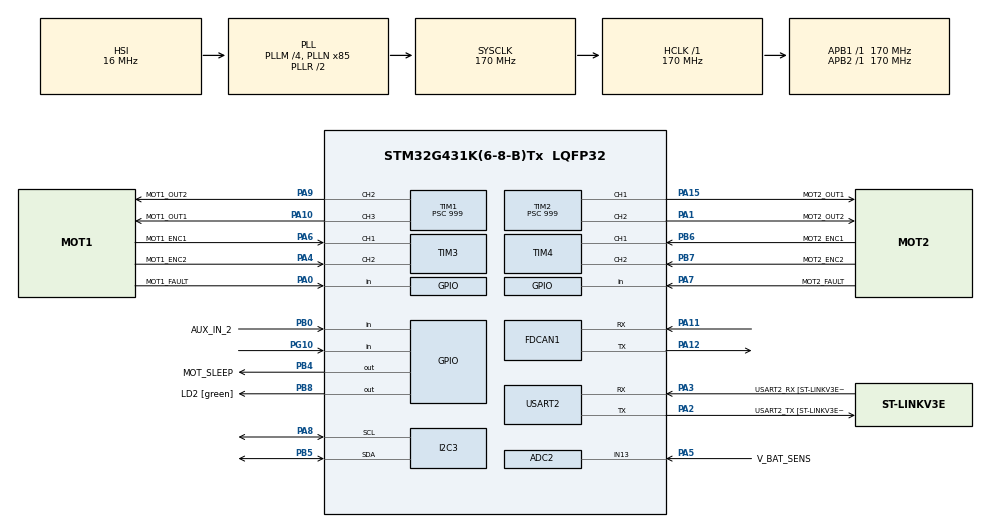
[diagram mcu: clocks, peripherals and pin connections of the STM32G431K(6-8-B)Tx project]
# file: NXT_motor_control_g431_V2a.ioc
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ADC2.Channel-1\#ChannelRegularConversion=ADC_CHANNEL_13
ADC2.NbrOfConversionFlag=1
ADC2.OffsetNumber-1\#ChannelRegularConversion=ADC_OFFSET_NONE
ADC2.Rank-1\#ChannelRegularConversion=1
ADC2.SamplingTime-1\#ChannelRegularConversion=ADC_SAMPLETIME_2CYCLES_5
FDCAN1.CalculateBaudRateNominal=249999
FDCAN1.CalculateTimeBitNominal=4000
FDCAN1.CalculateTimeQuantumNominal=235.29411764705884
FDCAN1.NominalPrescaler=40
FDCAN1.NominalTimeSeg1=14
I2C3.Timing=0x30A0A7FB
Mcu.Family=STM32G4
Mcu.Name=STM32G431K(6-8-B)Tx
Mcu.Package=LQFP32
NVIC.FDCAN1_IT0_IRQn=true\:2\:0\:true\:false\:true\:true\:true\:true
NVIC.FDCAN1_IT1_IRQn=true\:2\:0\:true\:false\:true\:true\:true\:true
NVIC.PriorityGroup=NVIC_PRIORITYGROUP_4
NVIC.TIM1_BRK_TIM15_IRQn=true\:0\:0\:false\:false\:true\:true\:true\:true
NVIC.TIM6_DAC_IRQn=true\:3\:0\:true\:false\:true\:true\:true\:true
PA0.GPIO_Label=MOT1_FAULT
PA0.Signal=GPIO_Input
PA1.GPIO_Label=MOT2_OUT2
PA1.Signal=S_TIM2_CH2
PA10.GPIO_Label=MOT1_OUT1
PA10.Signal=S_TIM1_CH3
PA11.Mode=FDCAN_Activate
PA11.Signal=FDCAN1_RX
PA12.Mode=FDCAN_Activate
PA12.Signal=FDCAN1_TX
PA13.GPIO_Label=T_SWDIO
PA13.Mode=Serial_Wire
PA13.Signal=SYS_JTMS-SWDIO
PA14.GPIO_Label=T_SWCLK
PA14.Mode=Serial_Wire
PA14.Signal=SYS_JTCK-SWCLK
PA15.GPIO_Label=MOT2_OUT1
PA15.Signal=S_TIM2_CH1
PA2.GPIO_Label=USART2_TX [ST-LINKV3E_VCP_RX]
PA2.Mode=Asynchronous
PA2.Signal=USART2_TX
PA3.GPIO_Label=USART2_RX [ST-LINKV3E_VCP_TX]
PA3.Mode=Asynchronous
PA3.Signal=USART2_RX
PA4.GPIO_Label=MOT1_ENC2
PA4.Signal=S_TIM3_CH2
PA5.GPIO_Label=V_BAT_SENS
PA5.Mode=IN13-Single-Ended
PA5.Signal=ADC2_IN13
PA6.GPIO_Label=MOT1_ENC1
PA6.Signal=S_TIM3_CH1
PA7.GPIO_Label=MOT2_FAULT
PA7.Signal=GPIO_Input
PA8.Mode=I2C
PA8.Signal=I2C3_SCL
PA9.GPIO_Label=MOT1_OUT2
PA9.Signal=S_TIM1_CH2
PB0.GPIO_Label=AUX_IN_2
PB0.Signal=GPIO_Input
PB3.GPIO_Label=T_SWO
PB3.Signal=SYS_JTDO-SWO
PB4.GPIO_Label=MOT_SLEEP
PB4.Signal=GPIO_Output
PB5.Mode=I2C
PB5.Signal=I2C3_SDA
PB6.GPIO_Label=MOT2_ENC1
PB6.Signal=S_TIM4_CH1
PB7.GPIO_Label=MOT2_ENC2
PB7.Signal=S_TIM4_CH2
PB8-BOOT0.GPIO_Label=LD2 [green]
PB8-BOOT0.Signal=GPIO_Output
PF0-OSC_IN.Mode=HSE-External-Oscillator
PF0-OSC_IN.Signal=RCC_OSC_IN
PF1-OSC_OUT.Mode=HSE-External-Oscillator
PF1-OSC_OUT.Signal=RCC_OSC_OUT
PG10-NRST.Signal=GPIO_Input
ProjectManager.HeapSize=0x200
ProjectManager.StackSize=0x400
ProjectManager.TargetToolchain=STM32CubeIDE
RCC.ADC12Freq_Value=170000000
RCC.AHBFreq_Value=170000000
RCC.APB1Freq_Value=170000000
RCC.APB1TimFreq_Value=170000000
RCC.APB2Freq_Value=170000000
RCC.APB2TimFreq_Value=170000000
RCC.CortexFreq_Value=170000000
RCC.EXTERNAL_CLOCK_VALUE=12288000
RCC.HCLKFreq_Value=170000000
RCC.HSE_VALUE=8000000
RCC.HSI48_VALUE=48000000
RCC.HSI_VALUE=16000000
RCC.LSE_VALUE=32768
RCC.PLLM=RCC_PLLM_DIV4
RCC.PLLN=85
RCC.SYSCLKFreq_VALUE=170000000
RCC.SYSCLKSource=RCC_SYSCLKSOURCE_PLLCLK
RCC.USBFreq_Value=170000000
RCC.VCOOutputFreq_Value=340000000
SH.S_TIM1_CH2.0=TIM1_CH2,PWM Generation2 CH2
SH.S_TIM1_CH3.0=TIM1_CH3,PWM Generation3 CH3
SH.S_TIM2_CH1.0=TIM2_CH1,PWM Generation1 CH1
SH.S_TIM2_CH2.0=TIM2_CH2,PWM Generation2 CH2
SH.S_TIM3_CH1.0=TIM3_CH1,Encoder_Interface
SH.S_TIM3_CH2.0=TIM3_CH2,Encoder_Interface
SH.S_TIM4_CH1.0=TIM4_CH1,Encoder_Interface
SH.S_TIM4_CH2.0=TIM4_CH2,Encoder_Interface
TIM1.Channel-PWM\ Generation2\ CH2=TIM_CHANNEL_2
TIM1.Channel-PWM\ Generation3\ CH3=TIM_CHANNEL_3
TIM1.PeriodNoDither=1699
TIM1.Prescaler=999
TIM2.Channel-PWM\ Generation1\ CH1=TIM_CHANNEL_1
TIM2.Channel-PWM\ Generation2\ CH2=TIM_CHANNEL_2
TIM2.PeriodNoDither=1699
TIM2.Prescaler=999
TIM6.PeriodNoDither=1699
TIM6.Prescaler=999
USART2.VirtualMode-Asynchronous=VM_ASYNC
USART2.WordLength=WORDLENGTH_8B
VP_SYS_VS_DBSignals.Mode=DisableDeadBatterySignals
VP_TIM6_VS_ClockSourceINT.Mode=Enable_Timer
board=NUCLEO-G431KB

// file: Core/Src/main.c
/* USER CODE BEGIN Header */
/**
  ******************************************************************************
  * @file           : main.c
  * @brief          : Main program body
  ******************************************************************************
  * @attention
  *
  * Copyright (c) 2024 STMicroelectronics.
  * All rights reserved.
  *
  * This software is licensed under terms that can be found in the LICENSE file
  * in the root directory of this software component.
  * If no LICENSE file comes with this software, it is provided AS-IS.
  *
  ******************************************************************************
  */
/* USER CODE END Header */
#include "main.h"

/* USER CODE BEGIN Includes */
#include "motorControl.h"
#include "Can_Driver.h"
/* USER CODE END Includes */

ADC_HandleTypeDef hadc2;

FDCAN_HandleTypeDef hfdcan1;

I2C_HandleTypeDef hi2c3;

TIM_HandleTypeDef htim1;
TIM_HandleTypeDef htim2;
TIM_HandleTypeDef htim3;
TIM_HandleTypeDef htim4;
TIM_HandleTypeDef htim6;

UART_HandleTypeDef huart2;

/* USER CODE BEGIN PV */

uint32_t time_cnt=0;

float pos_ref_dbg[3] ={0, 1.57, 3.14};
float pos_ref_dbg1 = 0;
uint8_t pos_idx=0;

int16_t motor1_speed_dbg=0;
int16_t motor2_speed_dbg=0;

//CAN variables - test

uint8_t can_tx_data[FDCAN_DLC_BYTES_8];
uint8_t can_tx_cnt = 0;
uint8_t can_rx_cnt=0;

/* USER CODE END PV */

void SystemClock_Config(void);
static void MX_GPIO_Init(void);
static void MX_ADC2_Init(void);
static void MX_FDCAN1_Init(void);
static void MX_TIM1_Init(void);
static void MX_TIM2_Init(void);
static void MX_TIM3_Init(void);
static void MX_TIM4_Init(void);
static void MX_USART2_UART_Init(void);
static void MX_I2C3_Init(void);
static void MX_TIM6_Init(void);

int main(void)
{

  /* MCU Configuration--------------------------------------------------------*/

  /* Reset of all peripherals, Initializes the Flash interface and the Systick. */
  HAL_Init();

  /* Configure the system clock */
  SystemClock_Config();

  /* Initialize all configured peripherals */
  MX_GPIO_Init();
  MX_ADC2_Init();
  MX_FDCAN1_Init();
  MX_TIM1_Init();
  MX_TIM2_Init();
  MX_TIM3_Init();
  MX_TIM4_Init();
  MX_USART2_UART_Init();
  MX_I2C3_Init();
  MX_TIM6_Init();
  /* USER CODE BEGIN 2 */

  // CAN start
  if (HAL_FDCAN_Start(&hfdcan1))
     {
        Error_Handler();
     }

  /*initialize motor */
  InitMotorControl(&motor_state1,&motor_state2);

  /* timer for interrupts */
  HAL_TIM_Base_Start_IT(&htim6);

  /* USER CODE END 2 */

  /* Infinite loop */
  /* USER CODE BEGIN WHILE */
  while (1)
  {
	HAL_GPIO_TogglePin(LD2_GPIO_Port, LD2_Pin);
	HAL_Delay(1000);

    /* USER CODE END WHILE */

  }
}

void SystemClock_Config(void)
{
  RCC_OscInitTypeDef RCC_OscInitStruct = {0};
  RCC_ClkInitTypeDef RCC_ClkInitStruct = {0};

  /** Configure the main internal regulator output voltage
  */
  HAL_PWREx_ControlVoltageScaling(PWR_REGULATOR_VOLTAGE_SCALE1_BOOST);

  /** Initializes the RCC Oscillators according to the specified parameters
  * in the RCC_OscInitTypeDef structure.
  */
  RCC_OscInitStruct.OscillatorType = RCC_OSCILLATORTYPE_HSI;
  RCC_OscInitStruct.HSIState = RCC_HSI_ON;
  RCC_OscInitStruct.HSICalibrationValue = RCC_HSICALIBRATION_DEFAULT;
  RCC_OscInitStruct.PLL.PLLState = RCC_PLL_ON;
  RCC_OscInitStruct.PLL.PLLSource = RCC_PLLSOURCE_HSI;
  RCC_OscInitStruct.PLL.PLLM = RCC_PLLM_DIV4;
  RCC_OscInitStruct.PLL.PLLN = 85;
  RCC_OscInitStruct.PLL.PLLP = RCC_PLLP_DIV2;
  RCC_OscInitStruct.PLL.PLLQ = RCC_PLLQ_DIV2;
  RCC_OscInitStruct.PLL.PLLR = RCC_PLLR_DIV2;
  if (HAL_RCC_OscConfig(&RCC_OscInitStruct) != HAL_OK)
  {
    Error_Handler();
  }

  /** Initializes the CPU, AHB and APB buses clocks
  */
  RCC_ClkInitStruct.ClockType = RCC_CLOCKTYPE_HCLK|RCC_CLOCKTYPE_SYSCLK
                              |RCC_CLOCKTYPE_PCLK1|RCC_CLOCKTYPE_PCLK2;
  RCC_ClkInitStruct.SYSCLKSource = RCC_SYSCLKSOURCE_PLLCLK;
  RCC_ClkInitStruct.AHBCLKDivider = RCC_SYSCLK_DIV1;
  RCC_ClkInitStruct.APB1CLKDivider = RCC_HCLK_DIV1;
  RCC_ClkInitStruct.APB2CLKDivider = RCC_HCLK_DIV1;

  if (HAL_RCC_ClockConfig(&RCC_ClkInitStruct, FLASH_LATENCY_4) != HAL_OK)
  {
    Error_Handler();
  }
}

static void MX_ADC2_Init(void)
{

  ADC_ChannelConfTypeDef sConfig = {0};

  /** Common config
  */
  hadc2.Instance = ADC2;
  hadc2.Init.ClockPrescaler = ADC_CLOCK_SYNC_PCLK_DIV4;
  hadc2.Init.Resolution = ADC_RESOLUTION_12B;
  hadc2.Init.DataAlign = ADC_DATAALIGN_RIGHT;
  hadc2.Init.GainCompensation = 0;
  hadc2.Init.ScanConvMode = ADC_SCAN_DISABLE;
  hadc2.Init.EOCSelection = ADC_EOC_SINGLE_CONV;
  hadc2.Init.LowPowerAutoWait = DISABLE;
  hadc2.Init.ContinuousConvMode = DISABLE;
  hadc2.Init.NbrOfConversion = 1;
  hadc2.Init.DiscontinuousConvMode = DISABLE;
  hadc2.Init.ExternalTrigConv = ADC_SOFTWARE_START;
  hadc2.Init.ExternalTrigConvEdge = ADC_EXTERNALTRIGCONVEDGE_NONE;
  hadc2.Init.DMAContinuousRequests = DISABLE;
  hadc2.Init.Overrun = ADC_OVR_DATA_PRESERVED;
  hadc2.Init.OversamplingMode = DISABLE;
  if (HAL_ADC_Init(&hadc2) != HAL_OK)
  {
    Error_Handler();
  }

  /** Configure Regular Channel
  */
  sConfig.Channel = ADC_CHANNEL_13;
  sConfig.Rank = ADC_REGULAR_RANK_1;
  sConfig.SamplingTime = ADC_SAMPLETIME_2CYCLES_5;
  sConfig.SingleDiff = ADC_SINGLE_ENDED;
  sConfig.OffsetNumber = ADC_OFFSET_NONE;
  sConfig.Offset = 0;
  if (HAL_ADC_ConfigChannel(&hadc2, &sConfig) != HAL_OK)
  {
    Error_Handler();
  }

}

static void MX_FDCAN1_Init(void)
{

  hfdcan1.Instance = FDCAN1;
  hfdcan1.Init.ClockDivider = FDCAN_CLOCK_DIV1;
  hfdcan1.Init.FrameFormat = FDCAN_FRAME_CLASSIC;
  hfdcan1.Init.Mode = FDCAN_MODE_NORMAL;
  hfdcan1.Init.AutoRetransmission = DISABLE;
  hfdcan1.Init.TransmitPause = DISABLE;
  hfdcan1.Init.ProtocolException = DISABLE;
  hfdcan1.Init.NominalPrescaler = 40;
  hfdcan1.Init.NominalSyncJumpWidth = 1;
  hfdcan1.Init.NominalTimeSeg1 = 14;
  hfdcan1.Init.NominalTimeSeg2 = 2;
  hfdcan1.Init.DataPrescaler = 1;
  hfdcan1.Init.DataSyncJumpWidth = 1;
  hfdcan1.Init.DataTimeSeg1 = 1;
  hfdcan1.Init.DataTimeSeg2 = 1;
  hfdcan1.Init.StdFiltersNbr = 0;
  hfdcan1.Init.ExtFiltersNbr = 0;
  hfdcan1.Init.TxFifoQueueMode = FDCAN_TX_FIFO_OPERATION;
  if (HAL_FDCAN_Init(&hfdcan1) != HAL_OK)
  {
    Error_Handler();
  }
  /* USER CODE BEGIN FDCAN1_Init 2 */
  if (HAL_FDCAN_ActivateNotification(&hfdcan1, FDCAN_IT_RX_FIFO0_NEW_MESSAGE, 0) != HAL_OK)
    {
    /* Notification Error */
       Error_Handler();
    }
  /* USER CODE END FDCAN1_Init 2 */

}

static void MX_I2C3_Init(void)
{

  hi2c3.Instance = I2C3;
  hi2c3.Init.Timing = 0x30A0A7FB;
  hi2c3.Init.OwnAddress1 = 0;
  hi2c3.Init.AddressingMode = I2C_ADDRESSINGMODE_7BIT;
  hi2c3.Init.DualAddressMode = I2C_DUALADDRESS_DISABLE;
  hi2c3.Init.OwnAddress2 = 0;
  hi2c3.Init.OwnAddress2Masks = I2C_OA2_NOMASK;
  hi2c3.Init.GeneralCallMode = I2C_GENERALCALL_DISABLE;
  hi2c3.Init.NoStretchMode = I2C_NOSTRETCH_DISABLE;
  if (HAL_I2C_Init(&hi2c3) != HAL_OK)
  {
    Error_Handler();
  }

  /** Configure Analogue filter
  */
  if (HAL_I2CEx_ConfigAnalogFilter(&hi2c3, I2C_ANALOGFILTER_ENABLE) != HAL_OK)
  {
    Error_Handler();
  }

  /** Configure Digital filter
  */
  if (HAL_I2CEx_ConfigDigitalFilter(&hi2c3, 0) != HAL_OK)
  {
    Error_Handler();
  }

}

static void MX_TIM1_Init(void)
{

  TIM_MasterConfigTypeDef sMasterConfig = {0};
  TIM_OC_InitTypeDef sConfigOC = {0};
  TIM_BreakDeadTimeConfigTypeDef sBreakDeadTimeConfig = {0};

  htim1.Instance = TIM1;
  htim1.Init.Prescaler = 999;
  htim1.Init.CounterMode = TIM_COUNTERMODE_UP;
  htim1.Init.Period = 1699;
  htim1.Init.ClockDivision = TIM_CLOCKDIVISION_DIV1;
  htim1.Init.RepetitionCounter = 0;
  htim1.Init.AutoReloadPreload = TIM_AUTORELOAD_PRELOAD_DISABLE;
  if (HAL_TIM_PWM_Init(&htim1) != HAL_OK)
  {
    Error_Handler();
  }
  sMasterConfig.MasterOutputTrigger = TIM_TRGO_RESET;
  sMasterConfig.MasterOutputTrigger2 = TIM_TRGO2_RESET;
  sMasterConfig.MasterSlaveMode = TIM_MASTERSLAVEMODE_DISABLE;
  if (HAL_TIMEx_MasterConfigSynchronization(&htim1, &sMasterConfig) != HAL_OK)
  {
    Error_Handler();
  }
  sConfigOC.OCMode = TIM_OCMODE_PWM1;
  sConfigOC.Pulse = 0;
  sConfigOC.OCPolarity = TIM_OCPOLARITY_HIGH;
  sConfigOC.OCNPolarity = TIM_OCNPOLARITY_HIGH;
  sConfigOC.OCFastMode = TIM_OCFAST_DISABLE;
  sConfigOC.OCIdleState = TIM_OCIDLESTATE_RESET;
  sConfigOC.OCNIdleState = TIM_OCNIDLESTATE_RESET;
  if (HAL_TIM_PWM_ConfigChannel(&htim1, &sConfigOC, TIM_CHANNEL_2) != HAL_OK)
  {
    Error_Handler();
  }
  if (HAL_TIM_PWM_ConfigChannel(&htim1, &sConfigOC, TIM_CHANNEL_3) != HAL_OK)
  {
    Error_Handler();
  }
  sBreakDeadTimeConfig.OffStateRunMode = TIM_OSSR_DISABLE;
  sBreakDeadTimeConfig.OffStateIDLEMode = TIM_OSSI_DISABLE;
  sBreakDeadTimeConfig.LockLevel = TIM_LOCKLEVEL_OFF;
  sBreakDeadTimeConfig.DeadTime = 0;
  sBreakDeadTimeConfig.BreakState = TIM_BREAK_DISABLE;
  sBreakDeadTimeConfig.BreakPolarity = TIM_BREAKPOLARITY_HIGH;
  sBreakDeadTimeConfig.BreakFilter = 0;
  sBreakDeadTimeConfig.BreakAFMode = TIM_BREAK_AFMODE_INPUT;
  sBreakDeadTimeConfig.Break2State = TIM_BREAK2_DISABLE;
  sBreakDeadTimeConfig.Break2Polarity = TIM_BREAK2POLARITY_HIGH;
  sBreakDeadTimeConfig.Break2Filter = 0;
  sBreakDeadTimeConfig.Break2AFMode = TIM_BREAK_AFMODE_INPUT;
  sBreakDeadTimeConfig.AutomaticOutput = TIM_AUTOMATICOUTPUT_DISABLE;
  if (HAL_TIMEx_ConfigBreakDeadTime(&htim1, &sBreakDeadTimeConfig) != HAL_OK)
  {
    Error_Handler();
  }
  HAL_TIM_MspPostInit(&htim1);

}

static void MX_TIM2_Init(void)
{

  TIM_MasterConfigTypeDef sMasterConfig = {0};
  TIM_OC_InitTypeDef sConfigOC = {0};

  htim2.Instance = TIM2;
  htim2.Init.Prescaler = 999;
  htim2.Init.CounterMode = TIM_COUNTERMODE_UP;
  htim2.Init.Period = 1699;
  htim2.Init.ClockDivision = TIM_CLOCKDIVISION_DIV1;
  htim2.Init.AutoReloadPreload = TIM_AUTORELOAD_PRELOAD_DISABLE;
  if (HAL_TIM_PWM_Init(&htim2) != HAL_OK)
  {
    Error_Handler();
  }
  sMasterConfig.MasterOutputTrigger = TIM_TRGO_RESET;
  sMasterConfig.MasterSlaveMode = TIM_MASTERSLAVEMODE_DISABLE;
  if (HAL_TIMEx_MasterConfigSynchronization(&htim2, &sMasterConfig) != HAL_OK)
  {
    Error_Handler();
  }
  sConfigOC.OCMode = TIM_OCMODE_PWM1;
  sConfigOC.Pulse = 0;
  sConfigOC.OCPolarity = TIM_OCPOLARITY_HIGH;
  sConfigOC.OCFastMode = TIM_OCFAST_DISABLE;
  if (HAL_TIM_PWM_ConfigChannel(&htim2, &sConfigOC, TIM_CHANNEL_1) != HAL_OK)
  {
    Error_Handler();
  }
  if (HAL_TIM_PWM_ConfigChannel(&htim2, &sConfigOC, TIM_CHANNEL_2) != HAL_OK)
  {
    Error_Handler();
  }
  HAL_TIM_MspPostInit(&htim2);

}

static void MX_TIM3_Init(void)
{

  TIM_Encoder_InitTypeDef sConfig = {0};
  TIM_MasterConfigTypeDef sMasterConfig = {0};

  htim3.Instance = TIM3;
  htim3.Init.Prescaler = 0;
  htim3.Init.CounterMode = TIM_COUNTERMODE_UP;
  htim3.Init.Period = 65535;
  htim3.Init.ClockDivision = TIM_CLOCKDIVISION_DIV1;
  htim3.Init.AutoReloadPreload = TIM_AUTORELOAD_PRELOAD_DISABLE;
  sConfig.EncoderMode = TIM_ENCODERMODE_TI1;
  sConfig.IC1Polarity = TIM_ICPOLARITY_RISING;
  sConfig.IC1Selection = TIM_ICSELECTION_DIRECTTI;
  sConfig.IC1Prescaler = TIM_ICPSC_DIV1;
  sConfig.IC1Filter = 0;
  sConfig.IC2Polarity = TIM_ICPOLARITY_RISING;
  sConfig.IC2Selection = TIM_ICSELECTION_DIRECTTI;
  sConfig.IC2Prescaler = TIM_ICPSC_DIV1;
  sConfig.IC2Filter = 0;
  if (HAL_TIM_Encoder_Init(&htim3, &sConfig) != HAL_OK)
  {
    Error_Handler();
  }
  sMasterConfig.MasterOutputTrigger = TIM_TRGO_RESET;
  sMasterConfig.MasterSlaveMode = TIM_MASTERSLAVEMODE_DISABLE;
  if (HAL_TIMEx_MasterConfigSynchronization(&htim3, &sMasterConfig) != HAL_OK)
  {
    Error_Handler();
  }

}

static void MX_TIM4_Init(void)
{

  TIM_Encoder_InitTypeDef sConfig = {0};
  TIM_MasterConfigTypeDef sMasterConfig = {0};

  htim4.Instance = TIM4;
  htim4.Init.Prescaler = 0;
  htim4.Init.CounterMode = TIM_COUNTERMODE_UP;
  htim4.Init.Period = 65535;
  htim4.Init.ClockDivision = TIM_CLOCKDIVISION_DIV1;
  htim4.Init.AutoReloadPreload = TIM_AUTORELOAD_PRELOAD_DISABLE;
  sConfig.EncoderMode = TIM_ENCODERMODE_TI1;
  sConfig.IC1Polarity = TIM_ICPOLARITY_RISING;
  sConfig.IC1Selection = TIM_ICSELECTION_DIRECTTI;
  sConfig.IC1Prescaler = TIM_ICPSC_DIV1;
  sConfig.IC1Filter = 0;
  sConfig.IC2Polarity = TIM_ICPOLARITY_RISING;
  sConfig.IC2Selection = TIM_ICSELECTION_DIRECTTI;
  sConfig.IC2Prescaler = TIM_ICPSC_DIV1;
  sConfig.IC2Filter = 0;
  if (HAL_TIM_Encoder_Init(&htim4, &sConfig) != HAL_OK)
  {
    Error_Handler();
  }
  sMasterConfig.MasterOutputTrigger = TIM_TRGO_RESET;
  sMasterConfig.MasterSlaveMode = TIM_MASTERSLAVEMODE_DISABLE;
  if (HAL_TIMEx_MasterConfigSynchronization(&htim4, &sMasterConfig) != HAL_OK)
  {
    Error_Handler();
  }

}

static void MX_TIM6_Init(void)
{

  TIM_MasterConfigTypeDef sMasterConfig = {0};

  htim6.Instance = TIM6;
  htim6.Init.Prescaler = 999;
  htim6.Init.CounterMode = TIM_COUNTERMODE_UP;
  htim6.Init.Period = 1699;
  htim6.Init.AutoReloadPreload = TIM_AUTORELOAD_PRELOAD_DISABLE;
  if (HAL_TIM_Base_Init(&htim6) != HAL_OK)
  {
    Error_Handler();
  }
  sMasterConfig.MasterOutputTrigger = TIM_TRGO_RESET;
  sMasterConfig.MasterSlaveMode = TIM_MASTERSLAVEMODE_DISABLE;
  if (HAL_TIMEx_MasterConfigSynchronization(&htim6, &sMasterConfig) != HAL_OK)
  {
    Error_Handler();
  }

}

static void MX_USART2_UART_Init(void)
{

  huart2.Instance = USART2;
  huart2.Init.BaudRate = 115200;
  huart2.Init.WordLength = UART_WORDLENGTH_8B;
  huart2.Init.StopBits = UART_STOPBITS_1;
  huart2.Init.Parity = UART_PARITY_NONE;
  huart2.Init.Mode = UART_MODE_TX_RX;
  huart2.Init.HwFlowCtl = UART_HWCONTROL_NONE;
  huart2.Init.OverSampling = UART_OVERSAMPLING_16;
  huart2.Init.OneBitSampling = UART_ONE_BIT_SAMPLE_DISABLE;
  huart2.Init.ClockPrescaler = UART_PRESCALER_DIV1;
  huart2.AdvancedInit.AdvFeatureInit = UART_ADVFEATURE_NO_INIT;
  if (HAL_UART_Init(&huart2) != HAL_OK)
  {
    Error_Handler();
  }
  if (HAL_UARTEx_SetTxFifoThreshold(&huart2, UART_TXFIFO_THRESHOLD_1_8) != HAL_OK)
  {
    Error_Handler();
  }
  if (HAL_UARTEx_SetRxFifoThreshold(&huart2, UART_RXFIFO_THRESHOLD_1_8) != HAL_OK)
  {
    Error_Handler();
  }
  if (HAL_UARTEx_DisableFifoMode(&huart2) != HAL_OK)
  {
    Error_Handler();
  }

}

static void MX_GPIO_Init(void)
{
  GPIO_InitTypeDef GPIO_InitStruct = {0};

  /* GPIO Ports Clock Enable */
  __HAL_RCC_GPIOF_CLK_ENABLE();
  __HAL_RCC_GPIOG_CLK_ENABLE();
  __HAL_RCC_GPIOA_CLK_ENABLE();
  __HAL_RCC_GPIOB_CLK_ENABLE();

  /*Configure GPIO pin Output Level */
  HAL_GPIO_WritePin(GPIOB, MOT_SLEEP_Pin|LD2_Pin, GPIO_PIN_RESET);

  /*Configure GPIO pin : PG10 */
  GPIO_InitStruct.Pin = GPIO_PIN_10;
  GPIO_InitStruct.Mode = GPIO_MODE_INPUT;
  GPIO_InitStruct.Pull = GPIO_NOPULL;
  HAL_GPIO_Init(GPIOG, &GPIO_InitStruct);

  /*Configure GPIO pins : MOT1_FAULT_Pin MOT2_FAULT_Pin */
  GPIO_InitStruct.Pin = MOT1_FAULT_Pin|MOT2_FAULT_Pin;
  GPIO_InitStruct.Mode = GPIO_MODE_INPUT;
  GPIO_InitStruct.Pull = GPIO_NOPULL;
  HAL_GPIO_Init(GPIOA, &GPIO_InitStruct);

  /*Configure GPIO pin : AUX_IN_2_Pin */
  GPIO_InitStruct.Pin = AUX_IN_2_Pin;
  GPIO_InitStruct.Mode = GPIO_MODE_INPUT;
  GPIO_InitStruct.Pull = GPIO_NOPULL;
  HAL_GPIO_Init(AUX_IN_2_GPIO_Port, &GPIO_InitStruct);

  /*Configure GPIO pins : MOT_SLEEP_Pin LD2_Pin */
  GPIO_InitStruct.Pin = MOT_SLEEP_Pin|LD2_Pin;
  GPIO_InitStruct.Mode = GPIO_MODE_OUTPUT_PP;
  GPIO_InitStruct.Pull = GPIO_NOPULL;
  GPIO_InitStruct.Speed = GPIO_SPEED_FREQ_LOW;
  HAL_GPIO_Init(GPIOB, &GPIO_InitStruct);

}

/* USER CODE BEGIN 4 */

// CAN interrupt
void HAL_FDCAN_RxFifo0Callback(FDCAN_HandleTypeDef *hfdcan, uint32_t RxFifo0ITs)
{
   UNUSED(RxFifo0ITs);

	(void)Receive_CAN_Message(hfdcan, &can_rx_message);

	// for testing
	switch (can_rx_message.Identifier){

	case 0x123:
	can_rx_cnt++;
	break;

	case MCAN_M_REF_1_FRAME_ID:
	Motor_Update_Ref_CAN(&can_rx_message, &motor_state1);
	break;

#if 1
	case MCAN_M_REF_2_FRAME_ID:
	Motor_Update_Ref_CAN(&can_rx_message, &motor_state2);
	break;
#endif
	case MCAN_M_COMMAND_1_FRAME_ID:
	Motor_Update_Command_CAN(&can_rx_message, &motor_state1);
	break;

	case MCAN_M_COMMAND_2_FRAME_ID:
	Motor_Update_Command_CAN(&can_rx_message, &motor_state2);
	break;

	}

}

// Timer interrupt

void HAL_TIM_PeriodElapsedCallback(TIM_HandleTypeDef* htim)
{

	if(htim == &htim6){

#if 0
			if(time_cnt % 1 == 0){
						RefTraj1(&motor_state1);
						RefTraj1(&motor_state2);
					}
#endif
		}

		Motor_Driver_Enable(&motor_state1,&motor_state2);
#if 1
		MotorControl(&motor_state1);
		MotorControl(&motor_state2);
#endif
		time_cnt++;
		//Send CAN statuses
		Motor_Send_Messages_CAN();

}

/* USER CODE END 4 */

void Error_Handler(void)
{
  /* USER CODE BEGIN Error_Handler_Debug */
  /* User can add his own implementation to report the HAL error return state */
  __disable_irq();
  while (1)
  {
	  HAL_GPIO_TogglePin(LD2_GPIO_Port, LD2_Pin);
	  HAL_Delay(100);
  }
  /* USER CODE END Error_Handler_Debug */
}
